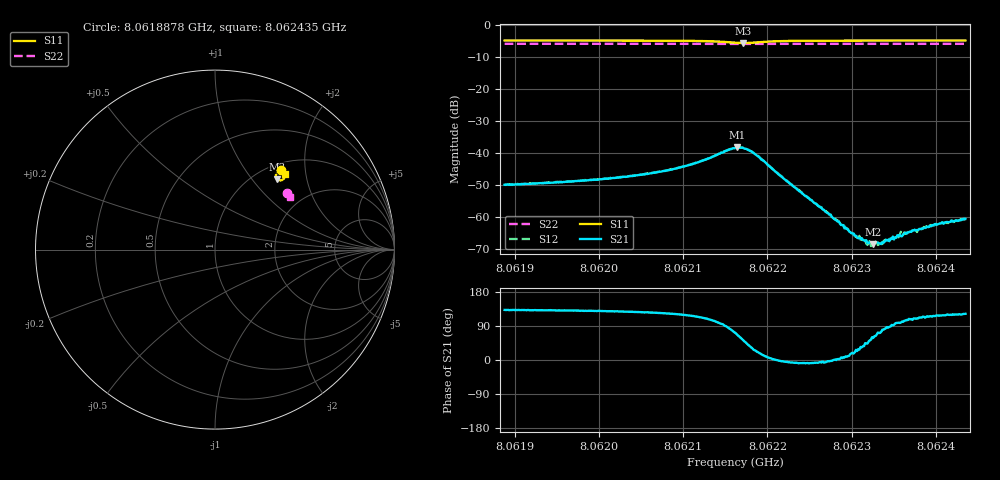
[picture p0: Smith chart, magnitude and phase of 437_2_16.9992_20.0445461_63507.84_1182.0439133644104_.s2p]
#  HZ  S  RI  R  50.00
! Rohde & Schwarz Vector Network Analyzer
! Rohde-Schwarz,ZNB20-2Port,1311601062101988,3.16
! Created: UTC 3/20/2024, 11:11:42 PM
! freq[Hz]  re:S11  im:S11  re:S21  im:S21  re:S12  im:S12  re:S22  im:S22
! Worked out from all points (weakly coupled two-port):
!   401 points, 8.0618878 GHz to 8.062435 GHz, reference 50 ohm
!   highest |S21| = -38.22 dB at 8.0621641 GHz (marker M1); lowest = -68.6 dB at 8.0623256 GHz (marker M2)
!   lowest |S11| = -5.6 dB at 8.062171 GHz (marker M3), VSWR 3.20, Z = 62.7 + j67.6 ohm
!   |S11| at or under -10 dB: nowhere
!   |S22| runs from -5.9 to -5.8 dB; largest |S21 - S12| = 0.00084
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8.06188777e9  0.3699 0.4417  -0.00215 0.00237  -0.00203 0.00252  0.3999 0.3181
8.06197944e9  0.3765 0.4355  -0.0024 0.00282  -0.00224 0.00297  0.4035 0.3135
8.06203553e9  0.3812 0.4304  -0.00263 0.00347  -0.0024 0.00361  0.4056 0.3106
8.06207111e9  0.3844 0.4254  -0.00287 0.00421  -0.0026 0.00439  0.4067 0.3085
8.06211215e9  0.3883 0.4151  -0.00299 0.00613  -0.0026 0.00635  0.4081 0.3062
8.0621614e9  0.3639 0.3856  0.00369 0.0113  0.00447 0.0112  0.4083 0.3027
8.06216414e9  0.359 0.3859  0.00491 0.0112  0.00544 0.0109  0.4083 0.3028
8.06217098e9  0.3475 0.3915  0.00731 0.00951  0.00786 0.00923  0.408 0.3028
8.06217782e9  0.34 0.4021  0.00864 0.00688  0.00913 0.00647  0.4081 0.3031
8.0621874e9  0.3398 0.4176  0.00853 0.00341  0.00867 0.00286  0.4086 0.3033
8.06222434e9  0.3619 0.4356  0.00352 -0.000337  0.00353 -0.00057  0.4111 0.3021
8.06225307e9  0.3712 0.4347  0.00178 -0.000242  0.00177 -0.000392  0.4125 0.3005
8.06230643e9  0.3804 0.4309  0.000436 0.000191  0.000459 0.000189  0.4146 0.2977
8.06232011e9  0.382 0.4298  0.000256 0.000293  0.00033 0.000293  0.4152 0.297
8.06232558e9  0.3825 0.4295  0.000197 0.000317  0.000216 0.000339  0.4154 0.2965
8.06233516e9  0.3835 0.429  9.92e-05 0.000364  0.000113 0.000376  0.4158 0.2962
8.06234474e9  0.3845 0.4283  1.88e-05 0.000418  2.03e-05 0.000454  0.416 0.2956
8.0623721e9  0.3869 0.4265  -0.000166 0.000588  -0.000167 0.000602  0.417 0.2942
8.06238031e9  0.3877 0.426  -0.000247 0.000604  -0.000183 0.000609  0.4172 0.2938
8.06239125e9  0.3885 0.4253  -0.000284 0.000636  -0.000259 0.000671  0.4178 0.2931
8.06239809e9  0.3891 0.4249  -0.000336 0.000688  -0.000283 0.00068  0.4179 0.2929
8.06243503e9  0.3917 0.4227  -0.000495 0.000796  -0.000422 0.000815  0.4192 0.2909
